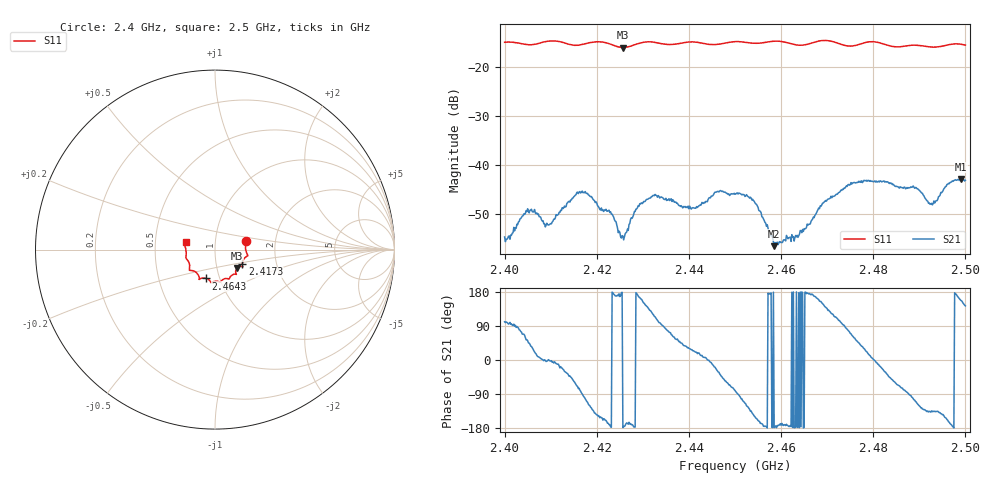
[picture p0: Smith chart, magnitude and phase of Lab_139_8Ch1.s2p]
# Hz S RI R 50
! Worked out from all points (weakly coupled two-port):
!   601 points, 2.4 GHz to 2.5 GHz, reference 50 ohm
!   highest |S21| = -42.84 dB at 2.499 GHz (marker M1); lowest = -56.6 dB at 2.4585 GHz (marker M2)
!   lowest |S11| = -15.9 dB at 2.4257 GHz (marker M3), VSWR 1.38, Z = 62.4 - j13.1 ohm
!   |S11| at or under -10 dB: start of sweep to end of sweep
!   S12 and S22 are empty: the file has one direction only
!   S11 on the Smith chart (normalised r, x): 2.4 GHz: 1.41, +0.15; 2.4173 GHz: 1.34, -0.23; 2.4643 GHz: 0.86, -0.28; 2.5 GHz: 0.72, +0.06
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2.4e9  0.1734 0.0499  -0.000345 0.00181  0 0  0 0
2.404667e9  0.1705 0.0172  0.00205 0.00275  0 0  0 0
2.409333e9  0.1823 -0.0304  0.00246 -9.12e-05  0 0  0 0
2.416667e9  0.1532 -0.0745  0.00031 -0.00526  0 0  0 0
2.417333e9  0.1526 -0.0821  -0.000795 -0.00516  0 0  0 0
2.423e9  0.145 -0.0935  -0.00332 -0.000229  0 0  0 0
2.425667e9  0.1223 -0.1023  -0.00188 -5.75e-05  0 0  0 0
2.429167e9  0.1162 -0.1321  -0.00368 0.000919  0 0  0 0
2.433333e9  0.1127 -0.1366  -0.00101 0.00478  0 0  0 0
2.441e9  0.0781 -0.1644  0.00333 0.00151  0 0  0 0
2.446167e9  0.0462 -0.1656  0.00472 -0.00258  0 0  0 0
2.45e9  0.0297 -0.1808  0.000834 -0.00497  0 0  0 0
2.454333e9  0.00715 -0.1761  -0.00355 -0.00208  0 0  0 0
2.4585e9  -0.02 -0.1839  -0.00148 -4.16e-05  0 0  0 0
2.464333e9  -0.0501 -0.1607  -0.00211 -0.000142  0 0  0 0
2.466667e9  -0.0763 -0.16  -0.00272 0.000281  0 0  0 0
2.475e9  -0.1062 -0.1261  0.0021 0.00595  0 0  0 0
2.483333e9  -0.1411 -0.0895  0.00481 -0.00451  0 0  0 0
2.489167e9  -0.1623 -0.0451  -0.00196 -0.00557  0 0  0 0
2.4925e9  -0.1603 -0.0198  -0.00297 -0.00272  0 0  0 0
2.499e9  -0.1686 0.0362  -0.00665 0.00277  0 0  0 0
2.5e9  -0.1635 0.0419  -0.00557 0.00424  0 0  0 0
